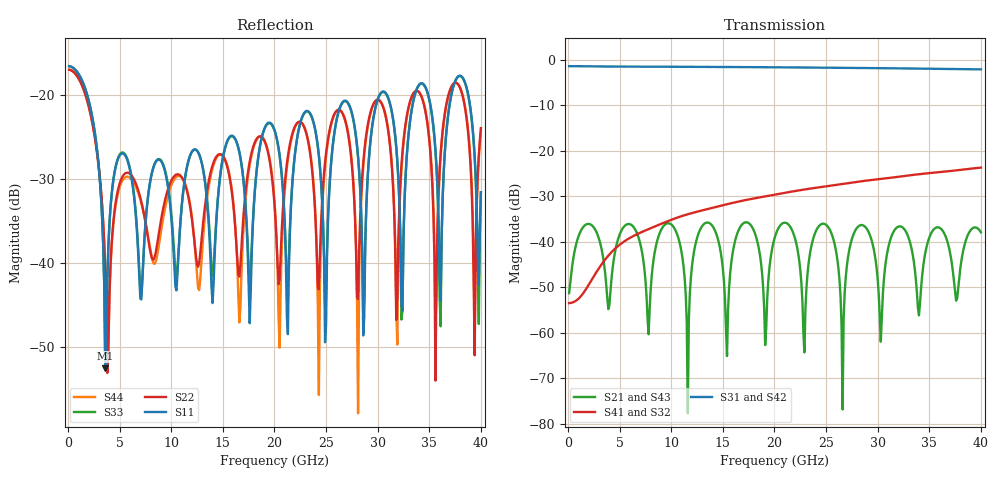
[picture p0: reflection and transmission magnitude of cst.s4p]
! T_ts6_broadside_o5: Broadside: In2 over In3 across the 0.93 mm core, lateral offset 0.5 mm, 20 mm
! stackup: ThunderScope Rev5.3 6-layer (FR408HR / FR-4, from the board file)
! ports: 1 near A, 2 near B, 3 far A, 4 far B
! CST Studio Suite 2025.5 Release from 2025-05-30, time domain (FIT, hexahedral, PBA), 165271 mesh cells, 38 s
! mesh: {'lpw': 20, 'lpb': 20, 'minstep': 0.0, 'ratio': 20}; ports: port 1 (face); port 2 (face); port 3 (face); port 4 (face)
! interpolated from CST's 1001 samples to the case grid
# Hz S RI R 50
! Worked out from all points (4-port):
!   400 points, 100 MHz to 40 GHz, reference 50 ohm
!   strongest paths, dB at 100 MHz, 10.1 GHz, 20.1 GHz, 30.1 GHz, 40 GHz:
!     S31: -1.4, -1.5, -1.6, -1.8, -2.1
!     S42: -1.3, -1.5, -1.7, -1.9, -2.2
!     S41: -53.5, -35.1, -29.6, -26.2, -23.7
!     S32: -53.5, -35.1, -29.7, -26.3, -23.7
!     S21: -51.3, -36.4, -38.5, -51.5, -37.9
!     S43: -51.3, -36.4, -38.5, -51.3, -37.9
!   lowest |S11| = -52.5 dB at 3.6 GHz (marker M1), VSWR 1.00, Z = 50.1 + j0.228 ohm
!   |S11| at or under -10 dB: start of sweep to end of sweep
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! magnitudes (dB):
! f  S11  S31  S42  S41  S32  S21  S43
! 100 MHz  -16.6  -1.4  -1.3  -53.5  -53.5  -51.3  -51.3
! 3.6 GHz  -52.5  -1.5  -1.5  -43.9  -43.9  -47.1  -47.1
! 11.6 GHz  -28.1  -1.5  -1.5  -34.0  -34.0  -77.8  -78.2
! 25 GHz  -47.4  -1.7  -1.8  -27.8  -27.8  -36.3  -36.3
! 26.6 GHz  -20.9  -1.8  -1.8  -27.3  -27.3  -76.9  -79.5
! 28 GHz  -26.0  -1.8  -1.8  -26.8  -26.9  -36.9  -36.9
! 40 GHz  -31.6  -2.1  -2.2  -23.7  -23.7  -37.9  -37.9
